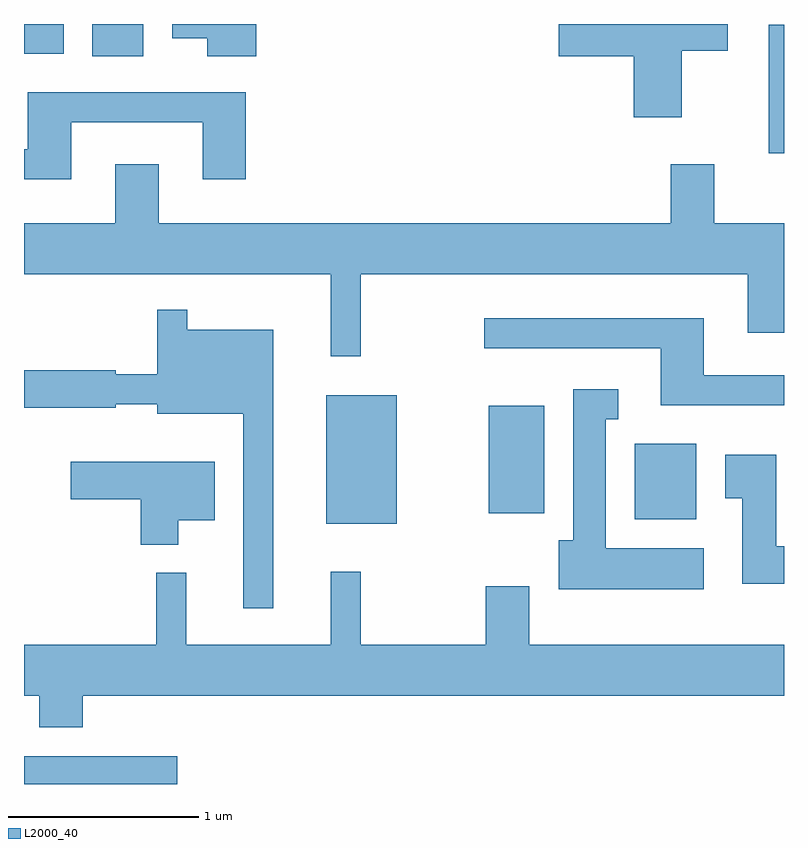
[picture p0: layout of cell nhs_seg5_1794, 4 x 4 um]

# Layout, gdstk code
import gdstk
lib = gdstk.Library(unit=1e-6, precision=1e-09)
def R(c, l, rs):  # rectangles x0, y0, x1, y1
    for r in rs: c.add(gdstk.rectangle(r[:2], r[2:], *l))
def P(c, l, *ps):  # polygons
    for p in ps: c.add(gdstk.Polygon(p, *l))
L2000_40 = (2000, 40)

nhs_seg5_1794 = lib.new_cell('nhs_seg5_1794')
R(nhs_seg5_1794, L2000_40, [(237.611,1494.072,238.418,1494.219), (239.201,1495.441,239.574,1496.119), (240.826,1495.466,241.149,1495.864), (240.056,1495.496,240.349,1496.064), (241.531,1497.391,241.611,1498.069), (237.971,1497.901,238.239,1498.072), (237.611,1497.916,237.819,1498.072)])
P(nhs_seg5_1794, L2000_40, [(241.074,1497.931),(241.314,1497.931),(241.314,1498.072),(240.426,1498.072),(240.426,1497.901),(240.821,1497.901),(240.821,1497.581),(241.074,1497.581)],
  [(238.834,1498.072),(238.391,1498.072),(238.391,1497.996),(238.576,1497.996),(238.576,1497.901),(238.834,1497.901)],
  [(237.859,1497.556),(238.551,1497.556),(238.551,1497.256),(238.779,1497.256),(238.779,1497.714),(237.631,1497.714),(237.631,1497.414),(237.611,1497.414),(237.611,1497.256),(237.859,1497.256)],
  [(239.384,1496.756),(241.421,1496.756),(241.421,1496.446),(241.611,1496.446),(241.611,1497.024),(241.244,1497.024),(241.244,1497.334),(241.016,1497.334),(241.016,1497.024),(238.319,1497.024),(238.319,1497.334),(238.091,1497.334),(238.091,1497.024),(237.611,1497.024),(237.611,1496.756),(239.226,1496.756),(239.226,1496.323),(239.384,1496.323)],
  [(238.924,1496.464),(238.469,1496.464),(238.469,1496.568),(238.311,1496.568),(238.311,1496.229),(238.094,1496.229),(238.094,1496.249),(237.611,1496.249),(237.611,1496.051),(238.094,1496.051),(238.094,1496.071),(238.311,1496.071),(238.311,1496.021),(238.766,1496.021),(238.766,1494.998),(238.924,1494.998)],
  [(241.611,1496.224),(241.189,1496.224),(241.189,1496.524),(240.033,1496.524),(240.033,1496.366),(240.961,1496.366),(240.961,1496.066),(241.611,1496.066)],
  [(241.189,1495.314),(240.674,1495.314),(240.674,1495.991),(240.738,1495.991),(240.738,1496.149),(240.501,1496.149),(240.501,1495.354),(240.426,1495.354),(240.426,1495.096),(241.189,1495.096)],
  [(241.611,1495.324),(241.569,1495.324),(241.569,1495.804),(241.301,1495.804),(241.301,1495.576),(241.391,1495.576),(241.391,1495.126),(241.611,1495.126)],
  [(238.424,1495.461),(238.614,1495.461),(238.614,1495.769),(237.856,1495.769),(237.856,1495.571),(238.226,1495.571),(238.226,1495.331),(238.424,1495.331)],
  [(237.919,1494.536),(241.611,1494.536),(241.611,1494.804),(240.269,1494.804),(240.269,1495.114),(240.041,1495.114),(240.041,1494.804),(239.384,1494.804),(239.384,1495.188),(239.226,1495.188),(239.226,1494.804),(238.464,1494.804),(238.464,1495.183),(238.306,1495.183),(238.306,1494.804),(237.611,1494.804),(237.611,1494.536),(237.691,1494.536),(237.691,1494.371),(237.919,1494.371)])

lib.write_gds('nhs_seg5_1794.gds')
